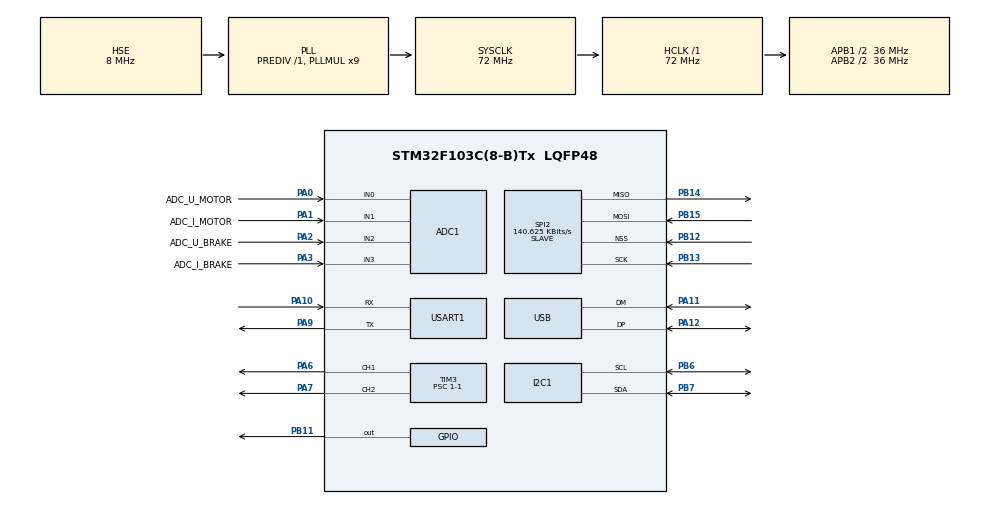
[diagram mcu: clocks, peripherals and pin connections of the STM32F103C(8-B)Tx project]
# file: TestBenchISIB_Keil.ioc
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ADC1.Channel-29\#ChannelRegularConversion=ADC_CHANNEL_0
ADC1.Channel-30\#ChannelRegularConversion=ADC_CHANNEL_1
ADC1.Channel-31\#ChannelRegularConversion=ADC_CHANNEL_2
ADC1.Channel-32\#ChannelRegularConversion=ADC_CHANNEL_3
ADC1.ContinuousConvMode=ENABLE
ADC1.EnableRegularConversion=ENABLE
ADC1.NbrOfConversion=4
ADC1.NbrOfConversionFlag=1
ADC1.Rank-29\#ChannelRegularConversion=1
ADC1.Rank-30\#ChannelRegularConversion=2
ADC1.Rank-31\#ChannelRegularConversion=3
ADC1.Rank-32\#ChannelRegularConversion=4
ADC1.SamplingTime-29\#ChannelRegularConversion=ADC_SAMPLETIME_239CYCLES_5
ADC1.SamplingTime-30\#ChannelRegularConversion=ADC_SAMPLETIME_239CYCLES_5
ADC1.SamplingTime-31\#ChannelRegularConversion=ADC_SAMPLETIME_239CYCLES_5
ADC1.SamplingTime-32\#ChannelRegularConversion=ADC_SAMPLETIME_239CYCLES_5
ADC1.master=1
Dma.ADC1.0.Direction=DMA_PERIPH_TO_MEMORY
Dma.ADC1.0.Instance=DMA1_Channel1
Dma.ADC1.0.MemDataAlignment=DMA_MDATAALIGN_HALFWORD
Dma.ADC1.0.MemInc=DMA_MINC_ENABLE
Dma.ADC1.0.Mode=DMA_CIRCULAR
Dma.ADC1.0.PeriphDataAlignment=DMA_PDATAALIGN_HALFWORD
Dma.ADC1.0.PeriphInc=DMA_PINC_DISABLE
Dma.ADC1.0.Priority=DMA_PRIORITY_MEDIUM
Dma.Request0=ADC1
Mcu.Family=STM32F1
Mcu.Name=STM32F103C(8-B)Tx
Mcu.Package=LQFP48
NVIC.ADC1_2_IRQn=true\:2\:0\:true\:false\:true\:true\:true
NVIC.DMA1_Channel1_IRQn=true\:2\:0\:true\:false\:true\:false\:true
NVIC.PriorityGroup=NVIC_PRIORITYGROUP_4
NVIC.SPI2_IRQn=true\:0\:0\:true\:false\:true\:true\:true
NVIC.TIM2_IRQn=true\:3\:0\:true\:false\:true\:true\:true
NVIC.TIM3_IRQn=true\:3\:0\:true\:false\:true\:true\:true
NVIC.USART1_IRQn=true\:1\:0\:true\:false\:true\:true\:true
NVIC.USB_LP_CAN1_RX0_IRQn=true\:5\:0\:true\:false\:true\:true\:true
PA0-WKUP.GPIO_Label=ADC_U_MOTOR
PA0-WKUP.Signal=ADCx_IN0
PA1.GPIO_Label=ADC_I_MOTOR
PA1.Signal=ADCx_IN1
PA10.GPIO_PuPd=GPIO_PULLUP
PA10.Mode=Asynchronous
PA10.Signal=USART1_RX
PA11.Mode=Device
PA11.Signal=USB_DM
PA12.Mode=Device
PA12.Signal=USB_DP
PA13.Mode=JTAG_5_pins
PA13.Signal=SYS_JTMS-SWDIO
PA14.Mode=JTAG_5_pins
PA14.Signal=SYS_JTCK-SWCLK
PA15.Mode=JTAG_5_pins
PA15.Signal=SYS_JTDI
PA2.GPIO_Label=ADC_U_BRAKE
PA2.Signal=ADCx_IN2
PA3.GPIO_Label=ADC_I_BRAKE
PA3.Signal=ADCx_IN3
PA6.Signal=S_TIM3_CH1
PA7.Signal=S_TIM3_CH2
PA9.Mode=Asynchronous
PA9.Signal=USART1_TX
PB11.Signal=GPIO_Output
PB12.GPIO_Mode=GPIO_MODE_INPUT
PB12.GPIO_PuPd=GPIO_NOPULL
PB12.Mode=NSS_Signal_Hard_Input
PB12.Signal=SPI2_NSS
PB13.GPIO_PuPd=GPIO_NOPULL
PB13.Mode=Full_Duplex_Slave
PB13.Signal=SPI2_SCK
PB14.GPIO_Speed=GPIO_SPEED_FREQ_HIGH
PB14.Mode=Full_Duplex_Slave
PB14.Signal=SPI2_MISO
PB15.GPIO_PuPd=GPIO_NOPULL
PB15.Mode=Full_Duplex_Slave
PB15.Signal=SPI2_MOSI
PB3.Mode=JTAG_5_pins
PB3.Signal=SYS_JTDO-TRACESWO
PB4.Mode=JTAG_5_pins
PB4.Signal=SYS_NJTRST
PB6.Mode=I2C
PB6.Signal=I2C1_SCL
PB7.Mode=I2C
PB7.Signal=I2C1_SDA
PB8.Signal=S_TIM4_CH3
PB9.Signal=S_TIM4_CH4
PC14-OSC32_IN.Mode=LSE-External-Oscillator
PC14-OSC32_IN.Signal=RCC_OSC32_IN
PC15-OSC32_OUT.Mode=LSE-External-Oscillator
PC15-OSC32_OUT.Signal=RCC_OSC32_OUT
PD0-OSC_IN.Mode=HSE-External-Oscillator
PD0-OSC_IN.Signal=RCC_OSC_IN
PD1-OSC_OUT.Mode=HSE-External-Oscillator
PD1-OSC_OUT.Signal=RCC_OSC_OUT
ProjectManager.HeapSize=0x200
ProjectManager.StackSize=0x400
ProjectManager.TargetToolchain=MDK-ARM V5.27
RCC.ADCPresc=RCC_ADCPCLK2_DIV6
RCC.AHBFreq_Value=72000000
RCC.APB1CLKDivider=RCC_HCLK_DIV2
RCC.APB1Freq_Value=36000000
RCC.APB1TimFreq_Value=72000000
RCC.APB2CLKDivider=RCC_HCLK_DIV2
RCC.APB2Freq_Value=36000000
RCC.APB2TimFreq_Value=72000000
RCC.HCLKFreq_Value=72000000
RCC.PLLMUL=RCC_PLL_MUL9
RCC.SYSCLKFreq_VALUE=72000000
RCC.SYSCLKSource=RCC_SYSCLKSOURCE_PLLCLK
RCC.USBFreq_Value=48000000
RCC.USBPrescaler=RCC_USBCLKSOURCE_PLL_DIV1_5
SH.ADCx_IN0.0=ADC1_IN0,IN0
SH.ADCx_IN1.0=ADC1_IN1,IN1
SH.ADCx_IN2.0=ADC1_IN2,IN2
SH.ADCx_IN3.0=ADC1_IN3,IN3
SH.S_TIM3_CH1.0=TIM3_CH1,PWM Generation1 CH1
SH.S_TIM3_CH2.0=TIM3_CH2,PWM Generation2 CH2
SH.S_TIM4_CH3.0=TIM4_CH3
SH.S_TIM4_CH4.0=TIM4_CH4
SPI2.BaudRatePrescaler=SPI_BAUDRATEPRESCALER_256
SPI2.CalculateBaudRate=140.625 KBits/s
SPI2.Direction=SPI_DIRECTION_2LINES
SPI2.Mode=SPI_MODE_SLAVE
SPI2.VirtualNSS=VM_NSSHARD
SPI2.VirtualType=VM_SLAVE
TIM2.Period=1000
TIM2.Prescaler=480
TIM3.Channel-PWM\ Generation1\ CH1=TIM_CHANNEL_1
TIM3.Channel-PWM\ Generation2\ CH2=TIM_CHANNEL_2
TIM3.OC1Preload_PWM=ENABLE
TIM3.Period=0xfff
TIM3.Prescaler=1-1
TIM3.Pulse-PWM\ Generation1\ CH1=1
TIM3.Pulse-PWM\ Generation2\ CH2=1
USART1.VirtualMode=VM_ASYNC
VP_TIM2_VS_ClockSourceINT.Mode=Internal
board=custom

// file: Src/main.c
/* USER CODE BEGIN Header */
/**
  ******************************************************************************
  * @file           : main.c
  * @brief          : Main program body
  ******************************************************************************
  * @attention
  *
  * <h2><center>&copy; Copyright (c) 2020 STMicroelectronics.
  * All rights reserved.</center></h2>
  *
  * This software component is licensed by ST under BSD 3-Clause license,
  * the "License"; You may not use this file except in compliance with the
  * License. You may obtain a copy of the License at:
  *                        opensource.org/licenses/BSD-3-Clause
  *
  ******************************************************************************
  */
/* USER CODE END Header */

#include "main.h"
#include "adc.h"
#include "dma.h"
#include "i2c.h"
#include "spi.h"
#include "tim.h"
#include "usart.h"
#include "usb.h"
#include "gpio.h"

/* USER CODE BEGIN Includes */
#include "types.h"
#include "Register.h"
/* USER CODE END Includes */

/* USER CODE BEGIN PTD */

/** @brief Enum Type to define the Motor Regulation Loop Mode*/
typedef enum
{
	E_MOT_REG_FACTOR_SPEED 		= 1,
	E_MOT_REG_FACTOR_VOLTAGE	= 2,
	E_MOT_REG_FACTOR_CURRENT 	= 3
}T_Motor_Regulation_Factor;

/** @brief Enum Type to define the Regulation Mode*/
typedef enum
{
	E_BRAKE_REG_FACTOR_TORQUE		= 1,
	E_BRAKE_REG_FACTOR_VOLTAGE	= 2,
	E_BRAKE_REG_FACTOR_CURRENT 	= 3
}T_Brake_Regulation_Factor;

/* USER CODE END PTD */

/* USER CODE BEGIN PD */
#define MAX_PWM 0xfff-10//65535	//Vitesse max robot

/* USER CODE END PD */

/* USER CODE BEGIN PV */
uint16_t ADC_buffer[4], adc[4], nmoyenne;
uint32_t moyenne[4];

uint8_t buffer_SPI_TX[6];
uint8_t buffer_SPI_RX[6];

uint8_t buffer_UART_TX[8] = {0xC5,0X80,0X80,0X80,0X80,0X80,0X80,0X80};
uint8_t buffer_UART_RX[8];

uint16_t Table_Tm_Reg[C_TM_TABLE_SIZE];

/** @brief Saved Local CMD Count */
uint16_t Vi_Last_Cmd_Count;

/** @brief TELECOMMAND Table register */
__attribute__((section (".registers"))) volatile uint16_t Table_Tc_Reg[C_TC_TABLE_SIZE];

unsigned char regulation_Motor_ON = 0;
unsigned char regulation_Brake_ON = 0;

/* USER CODE END PV */

void SystemClock_Config(void);

/* USER CODE BEGIN 0 */
void Refresh_TM()
{
	//Table_Tm_Reg[C_TM_CR_MOT] 	= 	1;//couple_measure;//1000;//adc[C_ADCTAB_LOADCEL] - adc[C_ADCTAB_165REF];
	Table_Tm_Reg[C_TM_U_MOT] 		= 	adc[C_ADCTAB_UMOTOR];
	Table_Tm_Reg[C_TM_I_MOT] 		= 	adc[C_ADCTAB_IMOTOR];
	Table_Tm_Reg[C_TM_U_BRAKE] 	= 	adc[C_ADCTAB_UBRAKE];
	Table_Tm_Reg[C_TM_I_BRAKE] 	= 	adc[C_ADCTAB_IBRAKE];
	//Table_Tm_Reg[C_TM_SP_MOT]		=		1;//counter_speed;
	Table_Tm_Reg[C_TM_PWM_MOT]		=		htim3.Instance->CCR2;//counter_speed;
	Table_Tm_Reg[C_TM_PWM_BRAKE]		=		htim3.Instance->CCR1;//counter_speed;
}

uint16_t *ptr_Measure_Motor = NULL;
uint16_t *ptr_Measure_Brake = NULL;
uint16_t C_Motor = 0.0;//136		//Consigne
uint16_t C_Brake = 0.0;
void Regulation_Loop_Motor()
{
	int E = 0.0;	//Erreur
	int M = 0.0;
	if(ptr_Measure_Motor == NULL)
	{
		C_Motor = 0;
		htim3.Instance->CCR2 = 0;
	}
	else
	{
		M = *(ptr_Measure_Motor);//Table_Tm_Reg[C_TM_U_MOT];//Mesure
		E = C_Motor-M;

		int pwm = htim3.Instance->CCR2;
		if(E>20)
		{
			if(pwm < (0xfff-10))
					pwm +=10;
		}
		else if(E<-20)
		{
			if(pwm > 10 )
					pwm -=10;
		}
		else
		{
			if(E<-2)
			{
				if(pwm > 0 )
					pwm --;
			}
			else if(E >0)
			{
				if(pwm < (0xfff-10))
					pwm ++;
			}
			else
			{
				//pwm = 0;//1424;//C/2;
			}
		}
		htim3.Instance->CCR2 = pwm;
	}
}

void Regulation_Loop_Brake(void)
{
	int E = 0;	//Erreur
	int M = 0;
	if(ptr_Measure_Brake == NULL)
	{
		C_Brake = 0;
		htim3.Instance->CCR1 = 0;
	}
	else
	{
		M = *(ptr_Measure_Brake);//Table_Tm_Reg[C_TM_U_BRAKE];//Mesure
		E = C_Brake-M;

		int pwm = htim3.Instance->CCR1;
		if(E>20)
		{
			if(pwm < (0xfff-10))
					pwm +=10;
		}
		else if(E<-20)
		{
			if(pwm > 10 )
					pwm -=10;
		}
		else
		{
			if(E<-2)
			{
				if(pwm > 0 )
					pwm --;
			}
			else if(E >0)
			{
				if(pwm < (0xfff-10))
					pwm ++;
			}
			else
			{
				//pwm = 0;//1424;//C/2;
			}
		}
		htim3.Instance->CCR1 = pwm;
	}
}

void HAL_TIM_PeriodElapsedCallback(TIM_HandleTypeDef *htim)
{
	if(htim->Instance == TIM2)
	{
		Regulation_Loop_Motor();
		Regulation_Loop_Brake();
	}
}

void HAL_ADC_ConvCpltCallback(ADC_HandleTypeDef* hadc)
{
	int i;
	for (i =0; i<4; i++)
	{
		 moyenne[i] += ADC_buffer[i];  // store the values in adc[]
	}
	nmoyenne++;

	if(nmoyenne==100)
	{
		for (i =0; i<4; i++)
		{
			adc[i] = moyenne[i]/100;  // store the values in adc[]
			moyenne[i] = 0;
		}
		nmoyenne = 0;
	}
}

void HAL_SPI_RxCpltCallback(SPI_HandleTypeDef *hspi)
{
	uint16_t value;
	uint8_t type = buffer_SPI_RX[0];
	if(hspi->Instance == SPI2)
	{
		if(type == 0x80)
		{
			value = buffer_SPI_RX[1];
			buffer_SPI_TX[1] = Table_Tm_Reg[value];
			buffer_SPI_TX[2] = Table_Tm_Reg[value]>>8;
		}
		else if(type == 0X20)
		{
			Table_Tc_Reg[C_TC_CMD_COUNT_ID] = (1+Vi_Last_Cmd_Count);
			Table_Tc_Reg[C_TC_CMD_ID] 		= (buffer_SPI_RX [1]);
			Table_Tc_Reg[C_TC_PARAM_1_ID] = (buffer_SPI_RX[2]<<8) + buffer_SPI_RX[3];
			Table_Tc_Reg[C_TC_PARAM_2_ID] = (buffer_SPI_RX[4]<<8) + buffer_SPI_RX[5];
			//TC DISPATCHER
		}
		else
		{
			//HAL_SPI_Receive_IT(&hspi2, buffer_SPI_RX, 1);
			//HAL_SPI_Receive_IT(&hspi2, buffer_SPI_RX, 1);
		}
		HAL_SPI_Transmit_IT(&hspi2, buffer_SPI_TX, 6);
	}
}

void HAL_SPI_TxCpltCallback(SPI_HandleTypeDef *hspi)
{
	if(hspi->Instance == SPI2)
		HAL_SPI_Receive_IT(&hspi2, buffer_SPI_RX, 6);
}

void HAL_UART_TxCpltCallback(UART_HandleTypeDef *huart)
{
	HAL_UART_Receive_IT(&huart1,buffer_UART_RX,8);
	//HAL_UART_Transmit_IT(&huart1,buffer_UART_TX,8);
}

void get_ATMega_Infos()
{
	int couple_measure,counter_speed;
	HAL_UART_Transmit(&huart1,buffer_UART_TX,8,1);
	HAL_UART_Receive(&huart1,buffer_UART_RX,8,20);
	if( (buffer_UART_RX[0] == 0XC5) && (buffer_UART_RX[1] == 0X08) && (buffer_UART_RX[7] == 0XC5) )
	{

		couple_measure 	=	(buffer_UART_RX[2])<<8;
		couple_measure += (buffer_UART_RX[3]);
		counter_speed 	= (buffer_UART_RX[4])<<16;
		counter_speed  += (buffer_UART_RX[5])<<8;
		counter_speed  += (buffer_UART_RX[6]);
		//HAL_UART_Transmit_IT(&huart1,buffer_UART_TX,8);

		Table_Tm_Reg[C_TM_SP_MOT] = counter_speed;
		Table_Tm_Reg[C_TM_CR_MOT] = couple_measure;
	}

}

uint8_t Is_New_Command_Received(void)
{
	uint8_t Vb_Command_Received;
	Vb_Command_Received = 0;

	volatile uint16_t New_Cmd_Cnt;	/**< Temporary Variable used to store the CMD_COUNT register, read only once */

	/** Read the CMD_CNT register */
	New_Cmd_Cnt = Table_Tc_Reg[C_TC_CMD_COUNT_ID];

	if ((New_Cmd_Cnt - Vi_Last_Cmd_Count) == 1)
	{	/** Read the TC and take it into account */
		/** Return TRUE */
		Vb_Command_Received = 1;
	}
	/** Save the last Cmd count for next check */
	Vi_Last_Cmd_Count = New_Cmd_Cnt;

	return Vb_Command_Received;
}
/*
	Table_Tm_Reg[C_TM_U_MOT] 		= 	adc[C_ADCTAB_UMOTOR];
	Table_Tm_Reg[C_TM_I_MOT] 		= 	adc[C_ADCTAB_IMOTOR];
	Table_Tm_Reg[C_TM_U_BRAKE] 	= 	adc[C_ADCTAB_UBRAKE];
	Table_Tm_Reg[C_TM_I_BRAKE] 	= 	adc[C_ADCTAB_IBRAKE];
	//Table_Tm_Reg[C_TM_SP_MOT]		=		1;//counter_speed;
	Table_Tm_Reg[C_TM_PWM_MOT]		=		1;//counter_speed;
	Table_Tm_Reg[C_TM_PWM_BRAKE]		=		1;//counter_speed;
*/
void TC_Dispatcher(const uint8_t p_Cmd_Id, const uint16_t p_Param1, const uint16_t p_Param2)
{
	switch(p_Cmd_Id)
	{
		case C_TC_SET_MODE :
			break;

		case C_TC_SET_U_MOT :
			ptr_Measure_Motor = &(Table_Tm_Reg[C_TM_U_MOT]);
			C_Motor = p_Param1;
			break;

		case C_TC_SET_I_MOT :
			ptr_Measure_Motor = &(Table_Tm_Reg[C_TM_I_MOT]);
			C_Motor = p_Param1;
			break;

		case C_TC_SET_SP_MOT :
			ptr_Measure_Motor = &(Table_Tm_Reg[C_TM_SP_MOT]);
			C_Motor = p_Param1;
			break;

		case C_TC_SET_PWM_MOT :
			ptr_Measure_Motor = &(Table_Tm_Reg[C_TM_PWM_MOT]);
			C_Motor = p_Param1;
			htim3.Instance->CCR2 = p_Param1;
			break;

		case C_TC_SET_CR :
			ptr_Measure_Brake = &(Table_Tm_Reg[C_TM_CR_MOT]);
			C_Motor = p_Param1;
			break;

		case C_TC_SET_U_BRAKE :
			ptr_Measure_Brake = &(Table_Tm_Reg[C_TM_U_BRAKE]);
			C_Brake = p_Param1;
			break;

		case C_TC_SET_I_BRAKE :
			ptr_Measure_Brake = &(Table_Tm_Reg[C_TM_I_BRAKE]);
			C_Brake = p_Param1;
			break;

		case C_TC_SET_PWM_BRAKE :
			ptr_Measure_Brake = &(Table_Tm_Reg[C_TM_PWM_BRAKE]);
			C_Brake = p_Param1;
			htim3.Instance->CCR2 = p_Param1;
			break;
	}
}

/* USER CODE END 0 */

int main(void)
{

  /* MCU Configuration--------------------------------------------------------*/

  /* Reset of all peripherals, Initializes the Flash interface and the Systick. */
  HAL_Init();

  /* Configure the system clock */
  SystemClock_Config();

  /* Initialize all configured peripherals */
  MX_GPIO_Init();
  MX_DMA_Init();
  MX_ADC1_Init();
  MX_I2C1_Init();
  MX_USB_PCD_Init();
  MX_TIM3_Init();
  MX_SPI2_Init();
  MX_TIM2_Init();
  MX_USART1_UART_Init();
  /* USER CODE BEGIN 2 */

	htim3.Instance->CCR1 = 0; //50% duty cycle
	htim3.Instance->CCR2 = 00; //25% duty cycle

	HAL_TIM_PWM_Start(&htim3, TIM_CHANNEL_2); //Start the PWM
	HAL_TIM_PWM_Start(&htim3, TIM_CHANNEL_1); //Start the PWM

	HAL_ADC_Start_DMA(&hadc1, (uint32_t *)ADC_buffer, 4);

	HAL_SPI_Receive_IT(&hspi2, buffer_SPI_RX, 6);
	HAL_SPI_Transmit_IT(&hspi2, buffer_SPI_TX, 6);

	//HAL_UART_Transmit_IT(&huart1,buffer_UART_TX,8);
	//HAL_UART_Receive_IT(&huart1,buffer_UART_RX,8);
	HAL_TIM_Base_Start_IT(&htim2);
	//HAL_TIM_Base_Init(&htim2);

  /* USER CODE END 2 */

  /* Infinite loop */
  /* USER CODE BEGIN WHILE */

	//HAL_UART_Transmit(&huart1,buffer_UART_TX,8,100);
	while (1)
  {
		Refresh_TM();
		get_ATMega_Infos();
		if (Is_New_Command_Received())
		{
			/** - Call TC Dispatcher to treat the command, with associated Parameter */
			TC_Dispatcher(Table_Tc_Reg[C_TC_CMD_ID], Table_Tc_Reg[C_TC_PARAM_1_ID],Table_Tc_Reg[C_TC_PARAM_2_ID]);
		}

		HAL_SPI_Receive_IT(&hspi2, buffer_SPI_RX, 6);
		//HAL_SPI_Transmit_IT(&hspi2, buffer_SPI_TX, 6);
		//PI_Loop_Motor();
    /* USER CODE END WHILE */

  }
}

void SystemClock_Config(void)
{
  RCC_OscInitTypeDef RCC_OscInitStruct = {0};
  RCC_ClkInitTypeDef RCC_ClkInitStruct = {0};
  RCC_PeriphCLKInitTypeDef PeriphClkInit = {0};

  /** Initializes the CPU, AHB and APB busses clocks
  */
  RCC_OscInitStruct.OscillatorType = RCC_OSCILLATORTYPE_HSE;
  RCC_OscInitStruct.HSEState = RCC_HSE_ON;
  RCC_OscInitStruct.HSEPredivValue = RCC_HSE_PREDIV_DIV1;
  RCC_OscInitStruct.HSIState = RCC_HSI_ON;
  RCC_OscInitStruct.PLL.PLLState = RCC_PLL_ON;
  RCC_OscInitStruct.PLL.PLLSource = RCC_PLLSOURCE_HSE;
  RCC_OscInitStruct.PLL.PLLMUL = RCC_PLL_MUL9;
  if (HAL_RCC_OscConfig(&RCC_OscInitStruct) != HAL_OK)
  {
    Error_Handler();
  }
  /** Initializes the CPU, AHB and APB busses clocks
  */
  RCC_ClkInitStruct.ClockType = RCC_CLOCKTYPE_HCLK|RCC_CLOCKTYPE_SYSCLK
                              |RCC_CLOCKTYPE_PCLK1|RCC_CLOCKTYPE_PCLK2;
  RCC_ClkInitStruct.SYSCLKSource = RCC_SYSCLKSOURCE_PLLCLK;
  RCC_ClkInitStruct.AHBCLKDivider = RCC_SYSCLK_DIV1;
  RCC_ClkInitStruct.APB1CLKDivider = RCC_HCLK_DIV2;
  RCC_ClkInitStruct.APB2CLKDivider = RCC_HCLK_DIV2;

  if (HAL_RCC_ClockConfig(&RCC_ClkInitStruct, FLASH_LATENCY_2) != HAL_OK)
  {
    Error_Handler();
  }
  PeriphClkInit.PeriphClockSelection = RCC_PERIPHCLK_ADC|RCC_PERIPHCLK_USB;
  PeriphClkInit.AdcClockSelection = RCC_ADCPCLK2_DIV6;
  PeriphClkInit.UsbClockSelection = RCC_USBCLKSOURCE_PLL_DIV1_5;
  if (HAL_RCCEx_PeriphCLKConfig(&PeriphClkInit) != HAL_OK)
  {
    Error_Handler();
  }
}

void Error_Handler(void)
{
}

/************************ (C) COPYRIGHT STMicroelectronics *****END OF FILE****/
